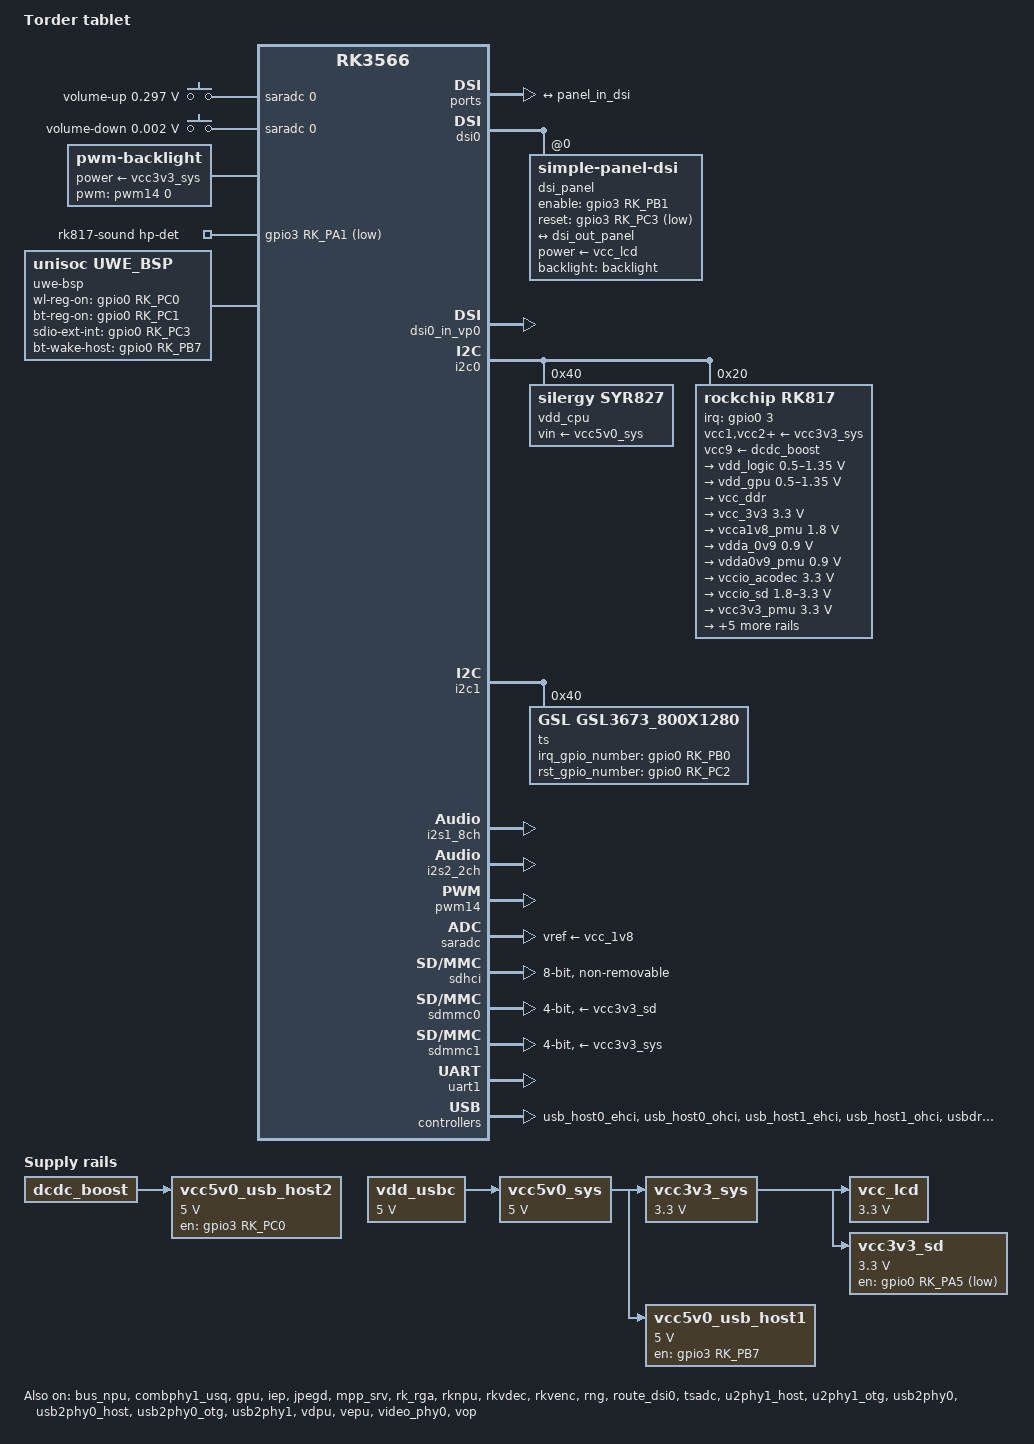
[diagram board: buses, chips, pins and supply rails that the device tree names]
// SPDX-License-Identifier: GPL-2.0-only
/*
 * Torder R10D tablet: board wiring and configuration for the vendor 6.1 kernel.
 * SoC definitions are inherited from rk3566.dtsi; board values were checked
 * against the working tablet DTB. See Documentation/arm64/torder-r10d.rst.
 */
/dts-v1/;

#include "rk3566.dtsi"
#include <dt-bindings/gpio/gpio.h>
#include <dt-bindings/pinctrl/rockchip.h>

/ {
	compatible = "torder,tablet", "rockchip,rk3566";
	model = "Torder tablet";
	/delete-node/ hdcp2@fe080000;
	/delete-node/ dmcdbg;

	eink: eink@fdf00000 {
		compatible = "rockchip,rk3568-eink-tcon";
		reg = <0 0xfdf00000 0 0x74>;
		interrupts = <0 0xb2 4>;
		clocks = <&cru PCLK_EINK &cru HCLK_EINK>;
		clock-names = "pclk", "hclk";
		status = "disabled";
	};

	chosen: chosen {
		bootargs = "earlycon=uart8250,mmio32,0xfe660000 console=ttyFIQ0,1500000 ";
	};

	fiq-debugger {
		compatible = "rockchip,fiq-debugger";
		rockchip,serial-id = <2>;
		rockchip,wake-irq = <0>;
		rockchip,irq-mode-enable = <1>;
		rockchip,baudrate = <0x16e360>;
		interrupts = <0 0xfc 8>;
		pinctrl-names = "default";
		pinctrl-0 = <&uart2m0_xfer>;
		status = "okay";
	};

	debug: debug@fd904000 {
		compatible = "rockchip,debug";
		reg = <0 0xfd904000 0 0x1000 0 0xfd905000 0 0x1000 0 0xfd906000 0 0x1000 0 0xfd907000 0 0x1000>;
	};

	cspmu: cspmu@fd90c000 {
		compatible = "rockchip,cspmu";
		reg = <0 0xfd90c000 0 0x1000 0 0xfd90d000 0 0x1000 0 0xfd90e000 0 0x1000 0 0xfd90f000 0 0x1000>;
	};

	vendor_storage: vendor-storage {
		compatible = "rockchip,ram-vendor-storage";
		memory-region = <&vendor_storage_rm>;
		status = "okay";
	};

	adc-keys {
		compatible = "adc-keys";
		io-channels = <&saradc 0>;
		io-channel-names = "buttons";
		keyup-threshold-microvolt = <0x1b7740>;
		poll-interval = <0x64>;

		vol-up-key {
			label = "volume-up";
			linux,code = <0x73>;
			press-threshold-microvolt = <0x48a1c>;
		};

		vol-down-key {
			label = "volume-down";
			linux,code = <0x72>;
			press-threshold-microvolt = <0x6d6>;
		};
	};

	backlight: backlight {
		compatible = "pwm-backlight";
		power-supply = <&vcc3v3_sys>;
		pwms = <&pwm14 0 0x61a8 0>;
		brightness-levels = <
			0 0x14 0x14 0x15 0x15 0x16 0x16 0x17
			0x17 0x18 0x18 0x19 0x19 0x1a 0x1a 0x1b
			0x1b 0x1c 0x1c 0x1d 0x1d 0x1e 0x1e 0x1f
			0x1f 0x20 0x20 0x21 0x21 0x22 0x22 0x23
			0x23 0x24 0x24 0x25 0x25 0x26 0x26 0x27
			0x28 0x29 0x2a 0x2b 0x2c 0x2d 0x2e 0x2f
			0x30 0x31 0x32 0x33 0x34 0x35 0x36 0x37
			0x38 0x39 0x3a 0x3b 0x3c 0x3d 0x3e 0x3f
			0x40 0x41 0x42 0x43 0x44 0x45 0x46 0x47
			0x48 0x49 0x4a 0x4b 0x4c 0x4d 0x4e 0x4f
			0x50 0x51 0x52 0x53 0x54 0x55 0x56 0x57
			0x58 0x59 0x5a 0x5b 0x5c 0x5d 0x5e 0x5f
			0x60 0x61 0x62 0x63 0x64 0x65 0x66 0x67
			0x68 0x69 0x6a 0x6b 0x6c 0x6d 0x6e 0x6f
			0x70 0x71 0x72 0x73 0x74 0x75 0x76 0x77
			0x78 0x79 0x7a 0x7b 0x7c 0x7d 0x7e 0x7f
			0x80 0x81 0x82 0x83 0x84 0x85 0x86 0x87
			0x88 0x89 0x8a 0x8b 0x8c 0x8d 0x8e 0x8f
			0x90 0x91 0x92 0x93 0x94 0x95 0x96 0x97
			0x98 0x99 0x9a 0x9b 0x9c 0x9d 0x9e 0x9f
			0xa0 0xa1 0xa2 0xa3 0xa4 0xa5 0xa6 0xa7
			0xa8 0xa9 0xaa 0xab 0xac 0xad 0xae 0xaf
			0xb0 0xb1 0xb2 0xb3 0xb4 0xb5 0xb6 0xb7
			0xb8 0xb9 0xba 0xbb 0xbc 0xbd 0xbe 0xbf
			0xc0 0xc1 0xc2 0xc3 0xc4 0xc5 0xc6 0xc7
			0xc8 0xc9 0xca 0xcb 0xcc 0xcd 0xce 0xcf
			0xd0 0xd1 0xd2 0xd3 0xd4 0xd5 0xd6 0xd7
			0xd8 0xd9 0xda 0xdb 0xdc 0xdd 0xde 0xdf
			0xe0 0xe1 0xe2 0xe3 0xe4 0xe5 0xe6 0xe7
			0xe8 0xe9 0xea 0xeb 0xec 0xed 0xee 0xef
			0xf0 0xf1 0xf2 0xf3 0xf4 0xf5 0xf6 0xf7
			0xf8 0xf9 0xfa 0xfb 0xfc 0xfd 0xfe 0xff
		>;
		default-brightness-level = <0x80>;
	};

	charge-animation {
		compatible = "rockchip,uboot-charge";
		rockchip,uboot-charge-on = <0>;
		rockchip,android-charge-on = <0>;
		rockchip,uboot-low-power-voltage = <0xd7a>;
		rockchip,screen-on-voltage = <0xdac>;
		rockchip,uboot-exit-charge-level = <2>;
		rockchip,uboot-exit-charge-voltage = <0xdac>;
		status = "okay";
	};

	rk817-sound {
		compatible = "rockchip,multicodecs-card";
		rockchip,card-name = "rockchip-rk817";
		hp-det-gpio = <&gpio3 RK_PA1 GPIO_ACTIVE_LOW>;
		rockchip,format = "i2s";
		rockchip,mclk-fs = <0x100>;
		rockchip,cpu = <&i2s1_8ch>;
		rockchip,codec = <&rk817_codec>;
		pinctrl-names = "default";
		pinctrl-0 = <&hp_det>;
		status = "okay";
	};

	bt_sco: bt-sco {
		compatible = "delta,dfbmcs320";
		#sound-dai-cells = <0>;
		status = "okay";
	};

	bt-sound {
		compatible = "simple-audio-card";
		simple-audio-card,format = "dsp_b";
		simple-audio-card,bitclock-inversion = <1>;
		simple-audio-card,mclk-fs = <0x100>;
		simple-audio-card,name = "rockchip,bt";
		simple-audio-card,bitclock-master = <&bt_sco>;
		simple-audio-card,frame-master = <&bt_sco>;
		simple-audio-card,widgets = "Microphone", "RX", "Speaker", "TX";
		simple-audio-card,routing = "BT_SCO_TX", "RX", "TX", "BT_SCO_RX";

		simple-audio-card,codec {
			sound-dai = <&bt_sco>;
		};

		simple-audio-card,cpu {
			sound-dai = <&i2s2_2ch>;
		};
	};

	sdio_pwrseq: sdio-pwrseq {
		compatible = "mmc-pwrseq-simple";
		clocks = <&rk817 1>;
		clock-names = "ext_clock";
	};

	sprd-wlan {
		compatible = "sprd,unisoc-wifi";
		status = "okay";
	};

	sprd-mtty {
		compatible = "sprd,mtty";
		sprd,name = "ttyBT";
		status = "okay";
	};

	uwe-bsp {
		compatible = "unisoc,uwe_bsp";
		sdhci-name = <0x121>;
		wl-reg-on = <&gpio0 RK_PC0 GPIO_ACTIVE_HIGH>;
		bt-reg-on = <&gpio0 RK_PC1 GPIO_ACTIVE_HIGH>;
		sdio-ext-int-gpio = <&gpio0 RK_PC3 GPIO_ACTIVE_HIGH>;
		unisoc,btwf-file-name = "/lib/firmware/uwe5621ds/wcnmodem.bin";
		bt-wake-host;
		bt-wake-host-gpio = <&gpio0 RK_PB7 GPIO_ACTIVE_HIGH>;
		blksz-512;
		keep-power-on;
		sdma-tx;
		sdma-rx;
		status = "okay";
	};

	vdd_usbc: vdd-usbc-regulator {
		compatible = "regulator-fixed";
		regulator-name = "vdd_usbc";
		regulator-always-on;
		regulator-boot-on;
		regulator-min-microvolt = <0x4c4b40>;
		regulator-max-microvolt = <0x4c4b40>;
	};

	vcc3v3_sys: regulator-vcc3v3-sys {
		compatible = "regulator-fixed";
		regulator-name = "vcc3v3_sys";
		regulator-always-on;
		regulator-boot-on;
		regulator-min-microvolt = <0x325aa0>;
		regulator-max-microvolt = <0x325aa0>;
		vin-supply = <&vcc5v0_sys>;
	};

	vcc_lcd: regulator-vcc-lcd {
		compatible = "regulator-fixed";
		regulator-name = "vcc_lcd";
		regulator-always-on;
		regulator-boot-on;
		regulator-min-microvolt = <0x325aa0>;
		regulator-max-microvolt = <0x325aa0>;
		vin-supply = <&vcc3v3_sys>;
	};

	vcc5v0_sys: regulator-vcc5v0-sys {
		compatible = "regulator-fixed";
		regulator-name = "vcc5v0_sys";
		regulator-always-on;
		regulator-boot-on;
		regulator-min-microvolt = <0x4c4b40>;
		regulator-max-microvolt = <0x4c4b40>;
		vin-supply = <&vdd_usbc>;
	};

	vcc5v0_usb_host1: regulator-vcc5v0-usb2-host1 {
		compatible = "regulator-fixed";
		enable-active-high;
		gpio = <&gpio3 RK_PB7 GPIO_ACTIVE_HIGH>;
		pinctrl-names = "default";
		pinctrl-0 = <&vcc5v0_usb_host1_en>;
		regulator-name = "vcc5v0_usb2_host1";
		regulator-always-on;
		regulator-boot-on;
		regulator-min-microvolt = <0x4c4b40>;
		regulator-max-microvolt = <0x4c4b40>;
		vin-supply = <&vcc5v0_sys>;
	};

	vcc5v0_usb_host2: regulator-vcc5v0-usb2-host2 {
		compatible = "regulator-fixed";
		enable-active-high;
		gpio = <&gpio3 RK_PC0 GPIO_ACTIVE_HIGH>;
		pinctrl-names = "default";
		pinctrl-0 = <&vcc5v0_usb_host2_en>;
		regulator-name = "vcc5v0_usb2_host2";
		regulator-always-on;
		regulator-boot-on;
		regulator-min-microvolt = <0x4c4b40>;
		regulator-max-microvolt = <0x4c4b40>;
		vin-supply = <&dcdc_boost>;
	};

	vcc3v3_sd: vcc3v3_sd {
		compatible = "regulator-fixed";
		gpio = <&gpio0 RK_PA5 GPIO_ACTIVE_LOW>;
		pinctrl-names = "default";
		pinctrl-0 = <&vcc_sd_h>;
		regulator-boot-on;
		regulator-name = "vcc3v3_sd";
		regulator-min-microvolt = <0x325aa0>;
		regulator-max-microvolt = <0x325aa0>;
		vin-supply = <&vcc3v3_sys>;
	};
};

&{/cpuinfo} {
	nvmem-cells = <&otp_id &otp_cpu_version &cpu_code>;
	nvmem-cell-names = "id", "cpu-version", "cpu-code";
};

&{/cpus} {
	/delete-node/ l2-cache;
};

&{/dsi@fe060000/ports} {

	port@1 {
		reg = <1>;

		dsi_out_panel: endpoint {
			remote-endpoint = <&panel_in_dsi>;
		};
	};
};

&{/firmware} {

	optee: optee {
		compatible = "linaro,optee-tz";
		method = "smc";
	};
};

&{/pinctrl/pmic} {

	pmic_int_l: pmic-int {
		rockchip,pins = <0 RK_PA3 0 &pcfg_pull_up>;
	};

	soc_slppin_gpio: soc_slppin_gpio {
		rockchip,pins = <0 RK_PA2 0 &pcfg_output_low>;
	};

	soc_slppin_slp: soc_slppin_slp {
		rockchip,pins = <0 RK_PA2 1 &pcfg_pull_none>;
	};

	soc_slppin_rst: soc_slppin_rst {
		rockchip,pins = <0 RK_PA2 2 &pcfg_pull_none>;
	};
};

&bus_npu {
	bus-supply = <&vdd_logic>;
	pvtm-supply = <&vdd_cpu>;
	status = "okay";
};

&combphy1_usq {
	status = "okay";
};

&cpu0 {
	/delete-property/ i-cache-size;
	/delete-property/ i-cache-line-size;
	/delete-property/ i-cache-sets;
	/delete-property/ d-cache-size;
	/delete-property/ d-cache-line-size;
	/delete-property/ d-cache-sets;
	/delete-property/ next-level-cache;
	cpu-supply = <&vdd_cpu>;
};

&cpu0_opp_table {
	/delete-property/ rockchip,high-temp;
	/delete-property/ rockchip,high-temp-max-volt;
};

&cpu1 {
	/delete-property/ i-cache-size;
	/delete-property/ i-cache-line-size;
	/delete-property/ i-cache-sets;
	/delete-property/ d-cache-size;
	/delete-property/ d-cache-line-size;
	/delete-property/ d-cache-sets;
	/delete-property/ next-level-cache;
	cpu-supply = <&vdd_cpu>;
};

&cpu2 {
	/delete-property/ i-cache-size;
	/delete-property/ i-cache-line-size;
	/delete-property/ i-cache-sets;
	/delete-property/ d-cache-size;
	/delete-property/ d-cache-line-size;
	/delete-property/ d-cache-sets;
	/delete-property/ next-level-cache;
	cpu-supply = <&vdd_cpu>;
};

&cpu3 {
	/delete-property/ i-cache-size;
	/delete-property/ i-cache-line-size;
	/delete-property/ i-cache-sets;
	/delete-property/ d-cache-size;
	/delete-property/ d-cache-line-size;
	/delete-property/ d-cache-sets;
	/delete-property/ next-level-cache;
	cpu-supply = <&vdd_cpu>;
};

&dsi0 {
	status = "okay";

	dsi_panel: panel@0 {
		status = "okay";
		compatible = "simple-panel-dsi";
		reg = <0>;
		backlight = <&backlight>;
		enable-gpios = <&gpio3 RK_PB1 GPIO_ACTIVE_HIGH>;
		reset-gpios = <&gpio3 RK_PC3 GPIO_ACTIVE_LOW>;
		pinctrl-names = "default";
		pinctrl-0 = <&lcd_rst &lcd_en>;
		power-supply = <&vcc_lcd>;
		enable-delay-ms = <0x78>;
		prepare-delay-ms = <0x14>;
		reset-delay-ms = <0x14>;
		init-delay-ms = <0x14>;
		unprepare-delay-ms = <0x14>;
		disable-delay-ms = <0x14>;
		size,width = <0x87>;
		size,height = <0xd8>;
		dsi,flags = <0x803>;
		dsi,format = <0>;
		dsi,lanes = <4>;
		panel-init-sequence = [
			15 00 02 e0 00 15 00 02 e1 93 15 00 02 e2 65 15
			00 02 e3 f8 15 00 02 80 03 15 00 02 e0 01 15 00
			02 00 00 15 00 02 01 3c 15 00 02 17 00 15 00 02
			0c 74 15 00 02 18 af 15 00 02 19 01 15 00 02 1a
			00 15 00 02 1b af 15 00 02 1c 01 15 00 02 1f 3e
			15 00 02 20 28 15 00 02 21 28 15 00 02 22 7e 15
			00 02 35 26 15 00 02 37 09 15 00 02 38 04 15 00
			02 39 00 15 00 02 3a 01 15 00 02 3c 7c 15 00 02
			3d ff 15 00 02 3e ff 15 00 02 3f 7f 15 00 02 40
			06 15 00 02 41 a0 15 00 02 42 81 15 00 02 43 08
			15 00 02 44 0b 15 00 02 45 28 15 00 02 55 02 15
			00 02 57 69 15 00 02 59 0a 15 00 02 5a 28 15 00
			02 5b 14 15 00 02 5d 7c 15 00 02 5e 65 15 00 02
			5f 55 15 00 02 60 47 15 00 02 61 43 15 00 02 62
			32 15 00 02 63 34 15 00 02 64 1c 15 00 02 65 33
			15 00 02 66 31 15 00 02 67 30 15 00 02 68 4e 15
			00 02 69 3c 15 00 02 6a 44 15 00 02 6b 35 15 00
			02 6c 31 15 00 02 6d 23 15 00 02 6e 11 15 00 02
			6f 00 15 00 02 70 7c 15 00 02 71 65 15 00 02 72
			55 15 00 02 73 47 15 00 02 74 43 15 00 02 75 32
			15 00 02 76 34 15 00 02 77 1c 15 00 02 78 33 15
			00 02 79 31 15 00 02 7a 30 15 00 02 7b 4e 15 00
			02 7c 3c 15 00 02 7d 44 15 00 02 7e 35 15 00 02
			7f 31 15 00 02 80 23 15 00 02 81 11 15 00 02 82
			00 15 00 02 e0 02 15 00 02 00 1e 15 00 02 01 1e
			15 00 02 02 41 15 00 02 03 41 15 00 02 04 43 15
			00 02 05 43 15 00 02 06 1f 15 00 02 07 1f 15 00
			02 08 35 15 00 02 09 1f 15 00 02 0a 15 15 00 02
			0b 15 15 00 02 0c 1f 15 00 02 0d 47 15 00 02 0e
			47 15 00 02 0f 45 15 00 02 10 45 15 00 02 11 4b
			15 00 02 12 4b 15 00 02 13 49 15 00 02 14 49 15
			00 02 15 1f 15 00 02 16 1e 15 00 02 17 1e 15 00
			02 18 40 15 00 02 19 40 15 00 02 1a 42 15 00 02
			1b 42 15 00 02 1c 1f 15 00 02 1d 1f 15 00 02 1e
			35 15 00 02 1f 1f 15 00 02 20 15 15 00 02 21 15
			15 00 02 22 1f 15 00 02 23 46 15 00 02 24 46 15
			00 02 25 44 15 00 02 26 44 15 00 02 27 4a 15 00
			02 28 4a 15 00 02 29 48 15 00 02 2a 48 15 00 02
			2b 1f 15 00 02 2c 1f 15 00 02 2d 1f 15 00 02 2e
			42 15 00 02 2f 42 15 00 02 30 40 15 00 02 31 40
			15 00 02 32 1e 15 00 02 33 1e 15 00 02 34 1f 15
			00 02 35 1f 15 00 02 36 1e 15 00 02 37 1e 15 00
			02 38 1f 15 00 02 39 48 15 00 02 3a 48 15 00 02
			3b 4a 15 00 02 3c 4a 15 00 02 3d 44 15 00 02 3e
			44 15 00 02 3f 46 15 00 02 40 46 15 00 02 41 1f
			15 00 02 42 1f 15 00 02 43 1f 15 00 02 44 43 15
			00 02 45 43 15 00 02 46 41 15 00 02 47 41 15 00
			02 48 1e 15 00 02 49 1e 15 00 02 4a 1e 15 00 02
			4b 1f 15 00 02 4c 1e 15 00 02 4d 1e 15 00 02 4e
			1f 15 00 02 4f 49 15 00 02 50 49 15 00 02 51 4b
			15 00 02 52 4b 15 00 02 53 45 15 00 02 54 45 15
			00 02 55 47 15 00 02 56 47 15 00 02 57 1f 15 00
			02 58 40 15 00 02 5b 30 15 00 02 5c 03 15 00 02
			5d 30 15 00 02 5e 01 15 00 02 5f 02 15 00 02 63
			14 15 00 02 64 6a 15 00 02 67 73 15 00 02 68 05
			15 00 02 69 14 15 00 02 6a 6a 15 00 02 6b 08 15
			00 02 6c 00 15 00 02 6d 06 15 00 02 6e 00 15 00
			02 6f 88 15 00 02 77 dd 15 00 02 79 0e 15 00 02
			7a 03 15 00 02 7d 14 15 00 02 7e 6a 15 00 02 e0
			04 15 00 02 09 11 15 00 02 0e 48 15 00 02 2d 03
			15 00 02 2b 08 15 00 02 2e 03 15 00 02 e0 00 15
			00 02 e6 02 15 00 02 e7 0c 05 78 01 11 05 64 01
			29
		];
		panel-exit-sequence = <0x5010128 0x5030110>;

		disp_timings0: display-timings {
			native-mode = <&dsi_timing0>;

			dsi_timing0: timing0 {
				clock-frequency = <0x404eda0>;
				hactive = <0x320>;
				vactive = <0x500>;
				hsync-len = <0x12>;
				hback-porch = <0x12>;
				hfront-porch = <0x12>;
				vsync-len = <4>;
				vback-porch = <8>;
				vfront-porch = <0x18>;
				hsync-active = <0>;
				vsync-active = <0>;
				de-active = <0>;
				pixelclk-active = <1>;
			};
		};

		ports {
			#address-cells = <1>;
			#size-cells = <0>;

			port@0 {
				reg = <0>;

				panel_in_dsi: endpoint {
					remote-endpoint = <&dsi_out_panel>;
				};
			};
		};
	};
};

&dsi0_in_vp0 {
	status = "okay";
};

&gpu {
	status = "okay";
	mali-supply = <&vdd_gpu>;
};

&i2c0 {
	status = "okay";

	vdd_cpu: regulator@40 {
		compatible = "silergy,syr827";
		reg = <0x40>;
		regulator-compatible = "fan53555-reg";
		fcs,suspend-voltage-selector = <1>;
		regulator-name = "vdd_cpu";
		regulator-min-microvolt = <0xadf34>;
		regulator-max-microvolt = <0x1535b0>;
		regulator-ramp-delay = <0x8fc>;
		regulator-always-on;
		regulator-boot-on;
		vin-supply = <&vcc5v0_sys>;

		regulator-state-mem {
			regulator-off-in-suspend;
		};
	};

	rk817: pmic@20 {
		compatible = "rockchip,rk817";
		reg = <0x20>;
		interrupt-parent = <&gpio0>;
		interrupts = <3 8>;
		clock-output-names = "rk808-clkout1", "rk808-clkout2";
		#clock-cells = <1>;
		pinctrl-names = "default", "pmic-sleep", "pmic-power-off", "pmic-reset";
		pinctrl-0 = <&pmic_int_l>;
		pinctrl-1 = <&soc_slppin_slp &rk817_slppin_slp>;
		pinctrl-2 = <&soc_slppin_gpio &rk817_slppin_pwrdn>;
		pinctrl-3 = <&soc_slppin_gpio &rk817_slppin_rst>;
		rockchip,system-power-controller;
		#sound-dai-cells = <0>;
		wakeup-source;
		pmic-reset-func = <0>;
		not-save-power-en = <1>;
		vcc1-supply = <&vcc3v3_sys>;
		vcc2-supply = <&vcc3v3_sys>;
		vcc3-supply = <&vcc3v3_sys>;
		vcc4-supply = <&vcc3v3_sys>;
		vcc5-supply = <&vcc3v3_sys>;
		vcc6-supply = <&vcc3v3_sys>;
		vcc7-supply = <&vcc3v3_sys>;
		vcc8-supply = <&vcc3v3_sys>;
		vcc9-supply = <&dcdc_boost>;

		pwrkey {
			status = "okay";
		};

		pinctrl_rk8xx: pinctrl_rk8xx {
			gpio-controller;
			#gpio-cells = <2>;

			rk817_slppin_null: rk817_slppin_null {
				pins = "gpio_slp";
				function = "pin_fun0";
			};

			rk817_slppin_slp: rk817_slppin_slp {
				pins = "gpio_slp";
				function = "pin_fun1";
			};

			rk817_slppin_pwrdn: rk817_slppin_pwrdn {
				pins = "gpio_slp";
				function = "pin_fun2";
			};

			rk817_slppin_rst: rk817_slppin_rst {
				pins = "gpio_slp";
				function = "pin_fun3";
			};
		};

		regulators {

			vdd_logic: DCDC_REG1 {
				regulator-always-on;
				regulator-boot-on;
				regulator-min-microvolt = <0x7a120>;
				regulator-max-microvolt = <0x149970>;
				regulator-ramp-delay = <0x1771>;
				regulator-initial-mode = <2>;
				regulator-name = "vdd_logic";

				regulator-state-mem {
					regulator-on-in-suspend;
					regulator-suspend-microvolt = <0xdbba0>;
				};
			};

			vdd_gpu: DCDC_REG2 {
				regulator-always-on;
				regulator-boot-on;
				regulator-min-microvolt = <0x7a120>;
				regulator-max-microvolt = <0x149970>;
				regulator-ramp-delay = <0x1771>;
				regulator-initial-mode = <2>;
				regulator-name = "vdd_gpu";

				regulator-state-mem {
					regulator-off-in-suspend;
				};
			};

			vcc_ddr: DCDC_REG3 {
				regulator-always-on;
				regulator-boot-on;
				regulator-initial-mode = <2>;
				regulator-name = "vcc_ddr";

				regulator-state-mem {
					regulator-on-in-suspend;
				};
			};

			vcc_3v3: DCDC_REG4 {
				regulator-always-on;
				regulator-boot-on;
				regulator-min-microvolt = <0x325aa0>;
				regulator-max-microvolt = <0x325aa0>;
				regulator-initial-mode = <2>;
				regulator-name = "vcc_3v3";

				regulator-state-mem {
					regulator-off-in-suspend;
				};
			};

			vcca1v8_pmu: LDO_REG1 {
				regulator-always-on;
				regulator-boot-on;
				regulator-min-microvolt = <0x1b7740>;
				regulator-max-microvolt = <0x1b7740>;
				regulator-name = "vcca1v8_pmu";

				regulator-state-mem {
					regulator-on-in-suspend;
					regulator-suspend-microvolt = <0x1b7740>;
				};
			};

			vdda_0v9: LDO_REG2 {
				regulator-always-on;
				regulator-boot-on;
				regulator-min-microvolt = <0xdbba0>;
				regulator-max-microvolt = <0xdbba0>;
				regulator-name = "vdda_0v9";

				regulator-state-mem {
					regulator-off-in-suspend;
				};
			};

			vdda0v9_pmu: LDO_REG3 {
				regulator-always-on;
				regulator-boot-on;
				regulator-min-microvolt = <0xdbba0>;
				regulator-max-microvolt = <0xdbba0>;
				regulator-name = "vdda0v9_pmu";

				regulator-state-mem {
					regulator-on-in-suspend;
					regulator-suspend-microvolt = <0xdbba0>;
				};
			};

			vccio_acodec: LDO_REG4 {
				regulator-always-on;
				regulator-boot-on;
				regulator-min-microvolt = <0x325aa0>;
				regulator-max-microvolt = <0x325aa0>;
				regulator-name = "vccio_acodec";

				regulator-state-mem {
					regulator-off-in-suspend;
				};
			};

			vccio_sd: LDO_REG5 {
				regulator-always-on;
				regulator-boot-on;
				regulator-min-microvolt = <0x1b7740>;
				regulator-max-microvolt = <0x325aa0>;
				regulator-name = "vccio_sd";

				regulator-state-mem {
					regulator-off-in-suspend;
				};
			};

			vcc3v3_pmu: LDO_REG6 {
				regulator-always-on;
				regulator-boot-on;
				regulator-min-microvolt = <0x325aa0>;
				regulator-max-microvolt = <0x325aa0>;
				regulator-name = "vcc3v3_pmu";

				regulator-state-mem {
					regulator-on-in-suspend;
					regulator-suspend-microvolt = <0x325aa0>;
				};
			};

			vcc_1v8: LDO_REG7 {
				regulator-always-on;
				regulator-boot-on;
				regulator-min-microvolt = <0x1b7740>;
				regulator-max-microvolt = <0x1b7740>;
				regulator-name = "vcc_1v8";

				regulator-state-mem {
					regulator-off-in-suspend;
				};
			};

			vcc1v8_dvp: LDO_REG8 {
				regulator-always-on;
				regulator-boot-on;
				regulator-min-microvolt = <0x1b7740>;
				regulator-max-microvolt = <0x1b7740>;
				regulator-name = "vcc1v8_dvp";

				regulator-state-mem {
					regulator-off-in-suspend;
				};
			};

			vcc2v8_dvp: LDO_REG9 {
				regulator-always-on;
				regulator-boot-on;
				regulator-min-microvolt = <0x2ab980>;
				regulator-max-microvolt = <0x2ab980>;
				regulator-name = "vcc2v8_dvp";

				regulator-state-mem {
					regulator-off-in-suspend;
				};
			};

			dcdc_boost: BOOST {
				regulator-always-on;
				regulator-boot-on;
				regulator-min-microvolt = <0x4f5880>;
				regulator-max-microvolt = <0x5265c0>;
				regulator-name = "boost";

				regulator-state-mem {
					regulator-off-in-suspend;
				};
			};

			otg_switch: OTG_SWITCH {
				regulator-name = "otg_switch";

				regulator-state-mem {
					regulator-off-in-suspend;
				};
			};
		};

		battery {
			compatible = "rk817,battery";
			ocv_table = <
				0xd48 0xdb9 0xdfa 0xe67 0xe96 0xea8 0xeb3 0xeb6
				0xebb 0xec8 0xedc 0xefc 0xf2d 0xf55 0xf7a 0xfa5
				0xfdf 0x1012 0x1049 0x1083 0x10cf
			>;
			ntc_table = <
				0xb00b 0xa7c6 0x9ff2 0x9888 0x9183 0x8adc 0x848e 0x7e73
				0x78e8 0x7386 0x6e6b 0x6991 0x64f6 0x6096 0x5c6d 0x5879
				0x54b6 0x5123 0x4ddb 0x4a7e 0x4768 0x4477 0x41aa 0x3eff
				0x3c74 0x3a07 0x37b6 0x3581 0x3365 0x3165 0x2f82 0x2db6
				0x2bdf 0x2a12 0x284e 0x2698 0x2590 0x2499 0x23a1 0x22b1
				0x21c6 0x20dd 0x2000 0x1f23 0x1e4a 0x1d7b 0x1cb0 0x1bec
				0x1b2e 0x1a76 0x19c5 0x1919 0x1871 0x17d3 0x173c 0x16ac
				0x1624 0x15a1 0x151d 0x14a0 0xf7f 0xeff 0xe84 0xe0d
				0xd9a 0xd2c 0xcbc 0xc55 0xbea 0xb7e 0xb16 0xab2
				0xa51 0x9ff 0x9d0 0x990 0x94f 0x90b 0x8cb 0x890
				0x852 0x818 0x7e0 0x7a8 0x774 0x744 0x713 0x704
				0x664
			>;
			ntc_degree_from = <1 0xa>;
			design_capacity = <0x17ba>;
			design_qmax = <0x1a19>;
			bat_res = <0x6e>;
			sleep_enter_current = <0x96>;
			sleep_exit_current = <0xb4>;
			sleep_filter_current = <0x64>;
			power_off_thresd = <0xd48>;
			zero_algorithm_vol = <0xf0a>;
			max_soc_offset = <0x3c>;
			monitor_sec = <5>;
			sample_res = <0xa>;
			virtual_power = <0>;
			fb_temperature = <0x73>;
		};

		charger {
			compatible = "rk817,charger";
			min_input_voltage = <0x1194>;
			max_input_current = <0x5dc>;
			max_chrg_current = <0x7d0>;
			max_chrg_voltage = <0x10cc>;
			chrg_term_mode = <0>;
			chrg_finish_cur = <0x12c>;
			virtual_power = <0>;
			dc_det_adc = <0>;
			extcon = <&usb2phy0>;
			otg_switch-supply = <&otg_switch>;
		};

		rk817_codec: codec {
			#sound-dai-cells = <0>;
			compatible = "rockchip,rk817-codec";
			clocks = <&cru I2S1_MCLKOUT>;
			clock-names = "mclk";
			assigned-clocks = <&cru I2S1_MCLKOUT &cru I2S1_MCLK_TX_IOE>;
			assigned-clock-rates = <0xbb8000>;
			assigned-clock-parents = <&cru I2S1_MCLKOUT_TX &cru I2S1_MCLKOUT_TX>;
			pinctrl-names = "default";
			pinctrl-0 = <&i2s1m0_mclk>;
			hp-volume = <0x14>;
			spk-volume = <0xf>;
			use-ext-amplifier;
			spk-ctl-gpios = <&gpio3 RK_PA2 GPIO_ACTIVE_HIGH>;
			status = "okay";
		};
	};
};

&i2c1 {
	status = "okay";

	ts@40 {
		compatible = "GSL,GSL3673_800X1280";
		reg = <0x40>;
		irq_gpio_number = <&gpio0 RK_PB0 2>;
		rst_gpio_number = <&gpio0 RK_PC2 GPIO_ACTIVE_HIGH>;
		pinctrl-names = "default";
		pinctrl-0 = <&ts_int>;
	};
};

&i2s1_8ch {
	pinctrl-0 = <&i2s1m0_sclktx &i2s1m0_lrcktx &i2s1m0_sdi0 &i2s1m0_sdo0>;
	status = "okay";
	rockchip,clk-trcm = <1>;
};

&i2s2_2ch {
	status = "okay";
};

&iep {
	status = "okay";
};

&iep_mmu {
	status = "okay";
};

&jpegd {
	status = "okay";
};

&jpegd_mmu {
	status = "okay";
};

&mpp_srv {
	status = "okay";
};

&pinctrl {

	usb {

		vcc5v0_usb_host1_en: vcc5v0-usb-host1-en {
			rockchip,pins = <3 RK_PB7 0 &pcfg_pull_none>;
		};

		vcc5v0_usb_host2_en: vcc5v0-usb-host2-en {
			rockchip,pins = <3 RK_PC0 0 &pcfg_pull_none>;
		};
	};

	vcc_sd {

		vcc_sd_h: vcc-sd-h {
			rockchip,pins = <0 RK_PA5 0 &pcfg_pull_none>;
		};
	};

	lcd {

		lcd_rst: lcd-rst-gpio {
			rockchip,pins = <3 RK_PC3 0 &pcfg_pull_none>;
		};

		lcd_en: lcd-enable-gpio {
			rockchip,pins = <3 RK_PB1 0 &pcfg_pull_none>;
		};
	};

	sdio-pwrseq {

		wifi_enable_h: wifi-enable-h {
			rockchip,pins = <0 RK_PC0 0 &pcfg_pull_none>;
		};
	};

	hp-detect {

		hp_det: hp-det {
			rockchip,pins = <3 RK_PA1 0 &pcfg_pull_none>;
		};
	};

	ts {

		ts_int: ts-int {
			rockchip,pins = <0 RK_PB0 0 &pcfg_pull_up>;
		};
	};
};

&pmu_io_domains {
	status = "okay";
	pmuio1-supply = <&vcc3v3_pmu>;
	pmuio2-supply = <&vcca1v8_pmu>;
	vccio1-supply = <&vccio_acodec>;
	#vccio2-supply = <&vcc_1v8>;
	vccio3-supply = <&vccio_sd>;
	vccio4-supply = <&vcc_1v8>;
	vccio5-supply = <&vcc_3v3>;
	vccio6-supply = <&vcc1v8_dvp>;
	vccio7-supply = <&vcc_3v3>;
};

&pwm14 {
	status = "okay";
};

&reserved_memory {

	linux,cma {
		compatible = "shared-dma-pool";
		inactive;
		reusable;
		reg = <0 0x10000000 0 0x800000>;
		linux,cma-default;
	};

	ramoops: ramoops@110000 {
		compatible = "ramoops";
		reg = <0 0x110000 0 0xf0000>;
		record-size = <0x20000>;
		console-size = <0x80000>;
		ftrace-size = <0>;
		pmsg-size = <0x50000>;
	};

	vendor_storage_rm: vendor-storage-rm@00000000 {
		compatible = "rockchip,vendor-storage-rm";
		reg = <0 0 0 0>;
	};
};

&rk_rga {
	status = "okay";
};

&rknpu {
	rknpu-supply = <&vdd_gpu>;
	status = "okay";
};

&rknpu_mmu {
	status = "okay";
};

&rkvdec {
	status = "okay";
};

&rkvdec_mmu {
	status = "okay";
};

&rkvenc {
	status = "okay";
};

&rkvenc_mmu {
	status = "okay";
};

&rng {
	status = "okay";
};

&rockchip_suspend {
	status = "okay";
};

&route_dsi0 {
	status = "okay";
};

&saradc {
	status = "okay";
	vref-supply = <&vcc_1v8>;
};

&sdhci {
	status = "okay";
	bus-width = <8>;
	max-frequency = <0x7270e00>;
	mmc-hs200-1_8v;
	non-removable;
	pinctrl-names = "default";
	pinctrl-0 = <&emmc_bus8 &emmc_clk &emmc_cmd>;
};

&sdmmc0 {
	status = "okay";
	bus-width = <4>;
	cap-mmc-highspeed;
	cap-sd-highspeed;
	disable-wp;
	sd-uhs-sdr104;
	pinctrl-names = "default";
	pinctrl-0 = <&sdmmc0_bus4 &sdmmc0_clk &sdmmc0_cmd &sdmmc0_det>;
	vmmc-supply = <&vcc3v3_sd>;
	vqmmc-supply = <&vccio_sd>;
};

&sdmmc1 {
	status = "okay";
	bus-width = <4>;
	cap-sd-highspeed;
	cap-sdio-irq;
	supports-sdio;
	disable-wp;
	keep-power-in-suspend;
	broken-cd;
	pinctrl-names = "default";
	pinctrl-0 = <&sdmmc1_bus4 &sdmmc1_cmd &sdmmc1_clk>;
	sd-uhs-sdr104;
	rockchip,default-sample-phase = <0x5a>;
	vmmc-supply = <&vcc3v3_sys>;
	vqmmc-supply = <&vcc_1v8>;
};

&tsadc {
	status = "okay";
};

&u2phy1_host {
	status = "okay";
	phy-supply = <&vcc5v0_usb_host1>;
};

&u2phy1_otg {
	status = "okay";
	phy-supply = <&vcc5v0_usb_host1>;
};

&uart1 {
	pinctrl-0 = <&uart1m0_ctsn &uart1m0_rtsn &uart1m0_xfer>;
	status = "okay";
	uart-has-rtscts;
	dma-names = "tx", "rx";
};

&usb2phy0 {
	status = "okay";
};

&usb2phy0_host {
	status = "okay";
	phy-supply = <&vcc5v0_usb_host1>;
};

&usb2phy0_otg {
	status = "okay";
};

&usb2phy1 {
	status = "okay";
};

&usb_host0_ehci {
	status = "okay";
};

&usb_host0_ohci {
	status = "okay";
};

&usb_host1_ehci {
	status = "okay";
};

&usb_host1_ohci {
	status = "okay";
};

&usbdrd30 {
	status = "okay";
};

&usbdrd_dwc3 {
	status = "okay";
};

&vdpu {
	status = "okay";
};

&vdpu_mmu {
	status = "okay";
};

&vepu {
	status = "okay";
};

&vepu_mmu {
	status = "okay";
};

&video_phy0 {
	status = "okay";
};

&vop {
	status = "okay";
	support-multi-area;
	assigned-clocks = <&cru DCLK_VOP0 &cru DCLK_VOP1>;
	assigned-clock-parents = <&pmucru 2 &cru CLK_RTC_32K>;
};

&vop_mmu {
	status = "okay";
};
